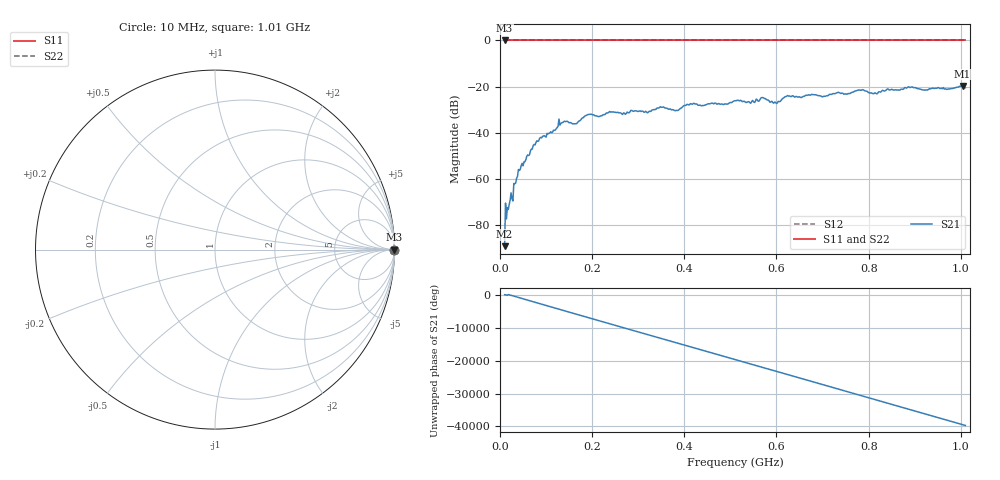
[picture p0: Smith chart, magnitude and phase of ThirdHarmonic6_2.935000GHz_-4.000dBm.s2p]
! 8/17/2025 8:12:25 AM
! C:\ANRITSUVNA\TEMP\TEMP.S2P
! CHANNEL.1
! TR.MEASUREMENT
! RAW.DATA
! RF.CORRECTION.OFF
! AVERAGING.OFF
! IF.BANDWIDTH: 5KHZ
! SWEEPTYPE:  FREQ.SWEEP(Linear)
! Reference Plane Port Info
! PORT:  PORT1  PORT2
! DISTANCE:  0  m  0  m
! TIME:  0  s  0  s
! PHASE.OFFSET:  0  deg.  0  deg.
! LOSS:  0  dB  0  dB
! REF.LOSS:  0  dB  0  dB
! REF.FREQ:  0  Hz  0  Hz
! Power Info
! POWER:  -20  dBm  -20  dBm
! EFF.POWER:  -20  dBm  -20  dBm
! SOURCE.ATTEN:  0  dB  0  dB
! TEST.ATTEN:  0  dB  0  dB
# GHZ S RI R 50.0
! FREQ.GHZ  S11RE  S11IM  S21RE  S21IM  S12RE  S12IM  S22RE  S22IM
!; PortSelection: Port_12
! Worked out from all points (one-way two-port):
!   501 points, 10 MHz to 1.01 GHz, reference 50 ohm
!   highest |S21| = -19.72 dB at 1.004 GHz (marker M1); lowest = -89.2 dB at 10 MHz (marker M2)
!   lowest |S11| = 0.0 dB at 10 MHz (marker M3)
!   |S11| at or under -10 dB: nowhere
!   |S22| runs from 0.0 to 0.0 dB; largest |S21 - S12| = 1.1
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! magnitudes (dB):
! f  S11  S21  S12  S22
! 10 MHz  0.0  -89.2  0.0  0.0
! 44 MHz  0.0  -55.9  0.0  0.0
! 76 MHz  0.0  -45.3  0.0  0.0
! 132 MHz  0.0  -36.0  0.0  0.0
! 162 MHz  0.0  -36.1  0.0  0.0
! 178 MHz  0.0  -33.7  0.0  0.0
! 194 MHz  0.0  -32.0  0.0  0.0
! 322 MHz  0.0  -31.1  0.0  0.0
! 344 MHz  0.0  -29.3  0.0  0.0
! 382 MHz  0.0  -30.3  0.0  0.0
! 416 MHz  0.0  -27.6  0.0  0.0
! 510 MHz  0.0  -26.1  0.0  0.0
! 542 MHz  0.0  -26.9  0.0  0.0
! 570 MHz  0.0  -24.8  0.0  0.0
! 598 MHz  0.0  -26.8  0.0  0.0
! 622 MHz  0.0  -24.2  0.0  0.0
! 678 MHz  0.0  -23.4  0.0  0.0
! 784 MHz  0.0  -21.6  0.0  0.0
! 814 MHz  0.0  -22.7  0.0  0.0
! 844 MHz  0.0  -21.4  0.0  0.0
! 1.004 GHz  0.0  -19.7  0.0  0.0
! 1.01 GHz  0.0  -20.5  0.0  0.0
